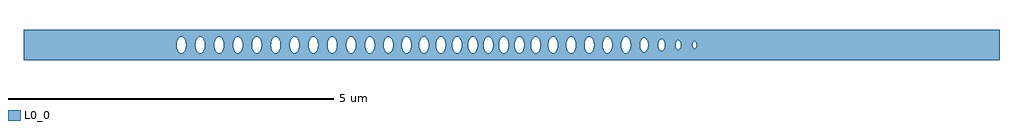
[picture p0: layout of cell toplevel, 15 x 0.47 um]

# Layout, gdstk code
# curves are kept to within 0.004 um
import gdstk
lib = gdstk.Library(unit=1e-6, precision=1e-09)
def P(c, l, *ps):  # polygons
    for p in ps: c.add(gdstk.Polygon(p, *l))
L0_0 = (0, 0)

toplevel = lib.new_cell('toplevel')
P(toplevel, L0_0, [(-4.856,0.016),(-4.846,0.068),(-4.823,0.108),(-4.823,0.234),(-7.5,0.234),(-7.5,-0.008),(-5.147,-0.008),(-5.142,0.047),(-5.124,0.093),(-5.101,0.119),(-5.075,0.128),(-5.048,0.119),(-5.028,0.098),(-5.013,0.068),(-5.002,0.008),(-5.007,-0.047),(-5.025,-0.093),(-5.048,-0.119),(-5.075,-0.128),(-5.101,-0.119),(-5.121,-0.098),(-5.136,-0.068),(-5.147,-0.008),(-7.5,-0.008),(-7.5,-0.234),(-4.823,-0.234),(-4.823,-0.108),(-4.852,-0.047)],
  [(-4.815,0.115),(-4.785,0.128),(-4.758,0.119),(-4.746,0.108),(-4.723,0.068),(-4.712,-0.008),(-4.723,-0.068),(-4.75,-0.112),(-4.785,-0.128),(-4.811,-0.119),(-4.823,-0.108),(-4.823,-0.234),(-4.477,-0.234),(-4.477,-0.123),(-4.508,-0.125),(-4.541,-0.098),(-4.556,-0.068),(-4.567,-0.008),(-4.562,0.047),(-4.541,0.098),(-4.508,0.125),(-4.477,0.123),(-4.477,0.234),(-4.823,0.234),(-4.823,0.108)],
  [(-4.423,-0.024),(-4.445,-0.093),(-4.477,-0.123),(-4.477,-0.234),(-4.134,-0.234),(-4.134,-0.032),(-4.158,-0.098),(-4.178,-0.119),(-4.205,-0.128),(-4.231,-0.119),(-4.251,-0.098),(-4.266,-0.068),(-4.277,-0.008),(-4.275,0.032),(-4.263,0.075),(-4.243,0.108),(-4.218,0.125),(-4.191,0.125),(-4.166,0.108),(-4.143,0.068),(-4.134,0.032),(-4.134,0.234),(-4.477,0.234),(-4.477,0.123),(-4.456,0.108),(-4.433,0.068),(-4.423,0.024)],
  [(-4.133,-0.024),(-4.134,-0.234),(-3.692,-0.234),(-3.692,-0.047),(-3.697,-0.008),(-3.692,0.234),(-4.134,0.234),(-4.132,-0.008),(-3.987,-0.008),(-3.982,0.047),(-3.964,0.093),(-3.941,0.119),(-3.915,0.128),(-3.888,0.119),(-3.868,0.098),(-3.853,0.068),(-3.842,0.008),(-3.847,-0.047),(-3.865,-0.093),(-3.888,-0.119),(-3.915,-0.128),(-3.941,-0.119),(-3.961,-0.098),(-3.976,-0.068),(-3.987,-0.008),(-4.132,-0.008)],
  [(-3.553,-0.024),(-3.563,-0.068),(-3.578,-0.098),(-3.598,-0.119),(-3.625,-0.128),(-3.651,-0.119),(-3.663,-0.108),(-3.692,-0.047),(-3.692,-0.234),(-3.348,-0.234),(-3.348,-0.125),(-3.369,-0.112),(-3.384,-0.093),(-3.402,-0.047),(-3.407,-0.008),(-3.405,0.032),(-3.393,0.075),(-3.373,0.108),(-3.348,0.125),(-3.348,0.234),(-3.692,0.234),(-3.692,0.047),(-3.674,0.093),(-3.651,0.119),(-3.625,0.128),(-3.598,0.119),(-3.578,0.098),(-3.563,0.068),(-3.553,0.024)],
  [(-3.339,0.127),(-3.308,0.119),(-3.285,0.093),(-3.267,0.047),(-3.262,-0.008),(-3.273,-0.068),(-3.288,-0.098),(-3.312,-0.121),(-3.335,-0.128),(-3.348,-0.125),(-3.348,-0.234),(-3.01,-0.234),(-3.01,-0.112),(-3.045,-0.128),(-3.08,-0.112),(-3.106,-0.068),(-3.117,-0.008),(-3.106,0.068),(-3.08,0.112),(-3.045,0.128),(-3.01,0.112),(-3.01,0.234),(-3.348,0.234),(-3.348,0.125)],
  [(-3.01,0.234),(-3.01,0.112),(-2.983,0.068),(-2.972,-0.008),(-2.827,-0.008),(-2.822,0.047),(-2.804,0.093),(-2.781,0.119),(-2.755,0.128),(-2.728,0.119),(-2.708,0.098),(-2.691,0.061),(-2.682,0.008),(-2.687,-0.047),(-2.705,-0.093),(-2.728,-0.119),(-2.755,-0.128),(-2.781,-0.119),(-2.801,-0.098),(-2.816,-0.068),(-2.827,-0.008),(-2.972,-0.008),(-2.983,-0.068),(-3.01,-0.112),(-3.01,-0.234),(-2.537,-0.234),(-2.537,0.234)],
  [(-2.536,0.024),(-2.526,0.068),(-2.511,0.098),(-2.491,0.119),(-2.46,0.127),(-2.438,0.119),(-2.415,0.093),(-2.397,0.047),(-2.392,-0.008),(-2.397,-0.047),(-2.415,-0.093),(-2.438,-0.119),(-2.465,-0.128),(-2.491,-0.119),(-2.511,-0.098),(-2.526,-0.068),(-2.537,-0.008),(-2.537,-0.234),(-2.215,-0.234),(-2.215,-0.108),(-2.237,-0.068),(-2.248,-0.016),(-2.243,0.047),(-2.232,0.081),(-2.215,0.108),(-2.215,0.234),(-2.537,0.234)],
  [(-2.107,-0.039),(-2.126,-0.093),(-2.149,-0.119),(-2.176,-0.128),(-2.215,-0.108),(-2.215,-0.234),(-1.891,-0.234),(-1.891,-0.128),(-1.918,-0.119),(-1.941,-0.093),(-1.955,-0.061),(-1.963,-0.016),(-1.961,0.032),(-1.95,0.075),(-1.926,0.112),(-1.891,0.128),(-1.891,0.234),(-2.215,0.234),(-2.215,0.108),(-2.176,0.128),(-2.149,0.119),(-2.133,0.103),(-2.108,0.047),(-2.103,0)],
  [(-1.555,-0.075),(-1.587,-0.119),(-1.614,-0.128),(-1.64,-0.119),(-1.66,-0.098),(-1.675,-0.068),(-1.686,-0.008),(-1.675,0.068),(-1.66,0.098),(-1.64,0.119),(-1.614,0.128),(-1.587,0.119),(-1.555,0.075),(-1.555,0.234),(-1.891,0.234),(-1.891,0.128),(-1.864,0.119),(-1.845,0.098),(-1.832,0.075),(-1.819,0.016),(-1.821,-0.032),(-1.832,-0.075),(-1.856,-0.112),(-1.891,-0.128),(-1.891,-0.234),(-1.555,-0.234)],
  [(-1.542,-0.016),(-1.555,-0.075),(-1.555,-0.234),(-1.273,-0.234),(-1.273,-0.016),(-1.284,-0.068),(-1.299,-0.098),(-1.318,-0.119),(-1.345,-0.128),(-1.372,-0.119),(-1.395,-0.093),(-1.411,-0.054),(-1.418,0),(-1.411,0.054),(-1.395,0.093),(-1.372,0.119),(-1.345,0.128),(-1.318,0.119),(-1.299,0.098),(-1.284,0.068),(-1.273,0.016),(-1.273,0.234),(-1.555,0.234),(-1.555,0.074),(-1.543,0.032)],
  [(-0.886,-0.234),(-0.886,-0.093),(-0.904,-0.047),(-0.909,-0.008),(-0.906,0.039),(-0.886,0.093),(-0.886,0.234),(-1.273,0.234),(-1.273,-0.008),(-1.159,-0.008),(-1.154,0.047),(-1.136,0.093),(-1.113,0.119),(-1.086,0.128),(-1.06,0.119),(-1.04,0.098),(-1.025,0.068),(-1.014,0.008),(-1.017,-0.039),(-1.037,-0.093),(-1.06,-0.119),(-1.086,-0.128),(-1.113,-0.119),(-1.136,-0.093),(-1.154,-0.047),(-1.159,-0.008),(-1.273,-0.008),(-1.273,-0.234)],
  [(-0.767,-0.032),(-0.778,-0.075),(-0.81,-0.119),(-0.837,-0.128),(-0.85,-0.125),(-0.872,-0.112),(-0.886,-0.093),(-0.886,-0.234),(-0.612,-0.234),(-0.612,-0.123),(-0.633,-0.108),(-0.653,-0.075),(-0.667,0),(-0.653,0.075),(-0.633,0.108),(-0.612,0.123),(-0.612,0.234),(-0.886,0.234),(-0.886,0.093),(-0.863,0.119),(-0.837,0.128),(-0.81,0.119),(-0.798,0.108),(-0.769,0.047),(-0.764,0.008)],
  [(-0.603,0.126),(-0.568,0.119),(-0.541,0.087),(-0.525,0.039),(-0.522,-0.016),(-0.533,-0.068),(-0.555,-0.108),(-0.581,-0.125),(-0.612,-0.123),(-0.612,-0.234),(-0.333,-0.234),(-0.333,-0.121),(-0.356,-0.128),(-0.395,-0.108),(-0.417,-0.068),(-0.428,-0.016),(-0.425,0.039),(-0.402,0.098),(-0.369,0.125),(-0.356,0.128),(-0.333,0.121),(-0.333,0.234),(-0.612,0.234),(-0.612,0.123)],
  [(-0.286,-0.032),(-0.306,-0.093),(-0.333,-0.121),(-0.333,-0.234),(-0.057,-0.234),(-0.057,-0.068),(-0.072,-0.098),(-0.092,-0.119),(-0.119,-0.128),(-0.137,-0.123),(-0.157,-0.108),(-0.177,-0.075),(-0.191,-0.008),(-0.18,0.068),(-0.165,0.098),(-0.145,0.119),(-0.119,0.128),(-0.092,0.119),(-0.072,0.098),(-0.057,0.068),(-0.057,0.234),(-0.333,0.234),(-0.333,0.121),(-0.306,0.093),(-0.292,0.061),(-0.284,0.016)],
  [(-0.048,-0.032),(-0.057,-0.068),(-0.057,-0.234),(0.317,-0.234),(0.317,-0.081),(0.301,-0.016),(0.304,0.039),(0.317,0.08),(0.317,0.234),(-0.057,0.234),(-0.057,0.068),(-0.047,0.024),(-0.047,-0.016),(0.05,-0.016),(0.052,0.032),(0.063,0.075),(0.087,0.112),(0.122,0.128),(0.149,0.119),(0.172,0.093),(0.194,0.016),(0.192,-0.034),(0.181,-0.075),(0.157,-0.112),(0.122,-0.128),(0.095,-0.119),(0.072,-0.093),(0.058,-0.061),(0.05,-0.016),(-0.047,-0.016)],
  [(0.442,-0.039),(0.423,-0.093),(0.408,-0.112),(0.387,-0.125),(0.373,-0.128),(0.346,-0.119),(0.317,-0.081),(0.317,-0.234),(0.608,-0.234),(0.608,-0.115),(0.58,-0.075),(0.567,-0.016),(0.573,0.054),(0.589,0.093),(0.608,0.115),(0.608,0.234),(0.317,0.234),(0.317,0.081),(0.334,0.108),(0.36,0.125),(0.387,0.125),(0.408,0.112),(0.423,0.093),(0.439,0.054),(0.446,0)],
  [(0.617,0.121),(0.639,0.128),(0.653,0.125),(0.674,0.112),(0.689,0.093),(0.708,0.039),(0.711,-0.018),(0.698,-0.075),(0.674,-0.112),(0.639,-0.128),(0.608,-0.115),(0.608,-0.234),(0.95,-0.234),(0.95,-0.112),(0.916,-0.128),(0.881,-0.112),(0.854,-0.068),(0.843,-0.008),(0.854,0.068),(0.877,0.108),(0.889,0.119),(0.916,0.128),(0.95,0.112),(0.95,0.234),(0.608,0.234),(0.608,0.115)],
  [(0.987,-0.024),(0.977,-0.068),(0.95,-0.112),(0.95,-0.234),(1.267,-0.234),(1.267,-0.016),(1.263,-0.047),(1.245,-0.093),(1.222,-0.119),(1.195,-0.128),(1.169,-0.119),(1.149,-0.098),(1.134,-0.068),(1.123,-0.008),(1.126,0.039),(1.146,0.093),(1.169,0.119),(1.195,0.128),(1.222,0.119),(1.245,0.093),(1.259,0.061),(1.267,0.016),(1.267,0.234),(0.95,0.234),(0.95,0.112),(0.965,0.093),(0.983,0.047)],
  [(1.691,-0.047),(1.685,0),(1.691,0.047),(1.691,0.234),(1.267,0.234),(1.267,-0.016),(1.403,-0.016),(1.406,0.039),(1.419,0.081),(1.44,0.112),(1.475,0.128),(1.502,0.119),(1.525,0.093),(1.541,0.054),(1.548,0),(1.541,-0.054),(1.525,-0.093),(1.502,-0.119),(1.475,-0.128),(1.449,-0.119),(1.429,-0.098),(1.414,-0.068),(1.403,-0.016),(1.267,-0.016),(1.267,-0.234),(1.691,-0.234)],
  [(1.828,-0.032),(1.814,-0.081),(1.797,-0.108),(1.785,-0.119),(1.758,-0.128),(1.731,-0.119),(1.719,-0.108),(1.691,-0.05),(1.691,-0.234),(1.995,-0.234),(1.995,-0.08),(1.976,-0.014),(1.98,0.04),(1.995,0.08),(1.995,0.234),(1.691,0.234),(1.691,0.047),(1.708,0.093),(1.731,0.119),(1.758,0.128),(1.785,0.119),(1.811,0.087),(1.825,0.047)],
  [(2.001,0.089),(2.015,0.102),(2.038,0.11),(2.054,0.106),(2.075,0.089),(2.093,0.053),(2.1,-0.014),(2.091,-0.059),(2.075,-0.089),(2.061,-0.102),(2.046,-0.109),(2.026,-0.108),(1.995,-0.08),(1.995,-0.234),(2.287,-0.234),(2.287,-0.085),(2.264,-0.054),(2.255,-0.017),(2.255,0.017),(2.264,0.054),(2.287,0.085),(2.287,0.234),(1.995,0.234),(1.995,0.08)],
  [(2.357,-0.023),(2.345,-0.063),(2.329,-0.083),(2.307,-0.092),(2.287,-0.085),(2.287,-0.234),(2.574,-0.234),(2.574,-0.071),(2.561,-0.074),(2.543,-0.065),(2.531,-0.047),(2.522,-0.014),(2.522,0.014),(2.535,0.054),(2.553,0.071),(2.574,0.071),(2.574,0.234),(2.287,0.234),(2.287,0.085),(2.313,0.091),(2.34,0.071),(2.357,0.023)],
  [(2.604,-0.018),(2.596,-0.047),(2.574,-0.071),(2.574,-0.234),(7.5,-0.234),(7.5,0.234),(2.574,0.234),(2.574,0.071),(2.596,0.047),(2.605,-0.007),(2.781,-0.007),(2.788,0.036),(2.811,0.056),(2.833,0.043),(2.844,0.01),(2.837,-0.036),(2.815,-0.056),(2.801,-0.052),(2.791,-0.041),(2.781,-0.007),(2.605,-0.007)])

lib.write_gds('toplevel.gds')
